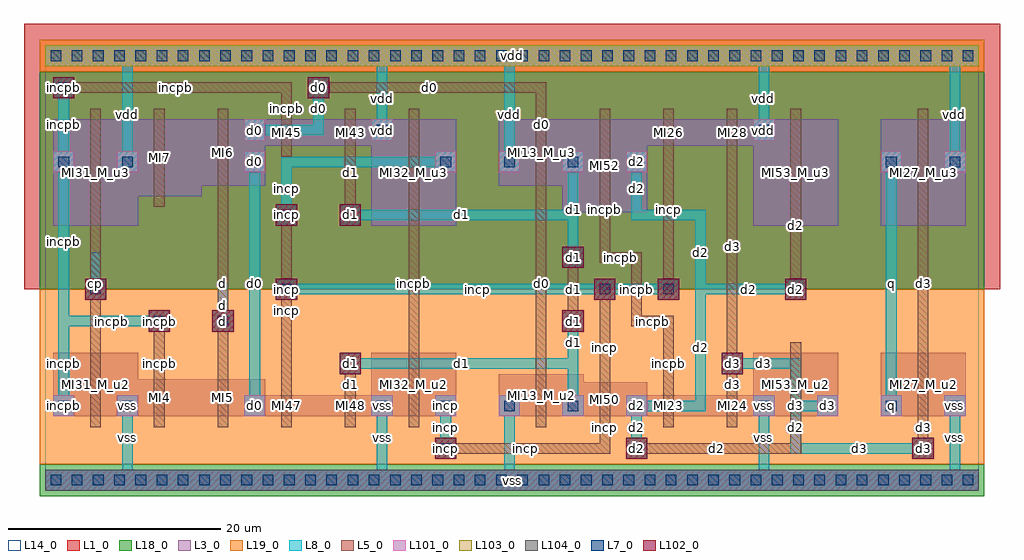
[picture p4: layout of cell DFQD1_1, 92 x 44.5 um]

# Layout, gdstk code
import gdstk
lib = gdstk.Library(unit=1e-6, precision=1e-09)
def R(c, l, rs):  # rectangles x0, y0, x1, y1
    for r in rs: c.add(gdstk.rectangle(r[:2], r[2:], *l))
def A(c, l, x, y, w, h, nx, ny, dx, dy):  # array of equal rectangles
    R(c, l, [(x+i*dx, y+j*dy, x+i*dx+w, y+j*dy+h) for i in range(nx) for j in range(ny)])
L1_0 = (1, 0)
L3_0 = (3, 0)
L5_0 = (5, 0)
L7_0 = (7, 0)
L8_0 = (8, 0)
L13_0 = (13, 0)
L14_0 = (14, 0)
L18_0 = (18, 0)
L19_0 = (19, 0)
L101_0 = (101, 0)
L102_0 = (102, 0)
L103_0 = (103, 0)
L104_0 = (104, 0)

dfqd1_1 = lib.new_cell('DFQD1_1')
R(dfqd1_1, L1_0, [(-2,18,90,43)])
A(dfqd1_1, L3_0, 6.75, 6, 2, 2, 3, 1, 12, 0)
A(dfqd1_1, L3_0, 36.75, 6, 2, 2, 4, 2, 6, 23)
A(dfqd1_1, L3_0, 66.75, 6, 2, 2, 4, 1, 6, 0)
R(dfqd1_1, L3_0, [(0,-1,88,1), (0,-1,88,1), (0.75,6,8.75,12), (0.75,6,2.75,8), (6.75,6,14.75,9.5), (12.75,6,20.75,9.5), (18.75,6,26.75,8), (24.75,6,32.75,8), (30.75,6,38.75,12), (42.75,6,50.75,10), (48.75,6,56.75,9.25), (54.75,6,62.75,8), (60.75,6,68.75,8), (66.75,6,74.75,12), (78.75,6,86.75,12), (0.75,24,8.75,34), (30.75,24,38.75,34), (66.75,24,74.75,34), (78.75,24,86.75,34), (48.75,25.25,56.75,34), (6.75,26.75,14.75,34), (12.75,27.75,20.75,34), (42.75,27.75,50.75,34), (0.75,29,2.75,31), (6.75,29,8.75,31), (18.75,29,20.75,31), (78.75,29,80.75,31), (84.75,29,86.75,31), (18.75,31.5,26.75,34), (24.75,31.5,32.75,34), (54.75,31.5,62.75,34), (60.75,31.5,68.75,34), (18.75,32,20.75,34), (30.75,32,32.75,34), (66.75,32,68.75,34), (0,39,88,41), (0,39,88,41)])
R(dfqd1_1, L5_0, [(36.75,2,38.75,4), (54.75,2,56.75,4), (81.75,2,83.75,4), (37.25,2.5,53.25,3.5), (52.25,2.5,53.25,7.5), (55.25,2.5,71.25,3.5), (70.25,2.5,71.25,7.5), (82.25,2.5,83.25,7.5), (4.25,5,5.25,13), (10.25,5,11.25,10.5), (16.25,5,17.25,10.5), (22.25,5,23.25,9), (28.25,5,29.25,9), (34.25,5,35.25,13), (46.25,5,47.25,11), (52.25,5,53.25,10.25), (58.25,5,59.25,9), (64.25,5,65.25,9), (70.25,5,71.25,13), (82.25,5,83.25,13), (4.25,6.5,5.25,30.5), (10.25,6.5,11.25,15.5), (16.25,6.5,17.25,30.5), (22.25,6.5,23.25,25.5), (28.25,6.5,29.25,11.5), (34.25,6.5,35.25,30.5), (46.25,6.5,47.25,30.5), (52.25,6.5,53.25,18.5), (58.25,6.5,59.25,15.5), (64.25,6.5,65.25,11.5), (82.25,6.5,83.25,30.5), (27.75,10,29.75,12), (63.75,10,65.75,12), (64.25,10.5,65.25,33.5), (9.75,14,11.75,16), (15.75,14,17.75,16), (48.75,14,50.75,16), (49.25,14.5,50.25,21.5), (55.25,14.5,59.25,15.5), (55.25,14.5,56.25,21.5), (3.75,17,5.75,19), (21.75,17,23.75,19), (51.75,17,53.75,19), (57.75,17,59.75,19), (69.75,17,71.75,19), (58.25,17.5,59.25,33.5), (70.25,17.5,71.25,30.5), (48.75,20,50.75,22), (52.25,20.5,56.25,21.5), (52.25,20.5,53.25,30.5), (4.25,23,5.25,35), (34.25,23,35.25,35), (70.25,23,71.25,35), (82.25,23,83.25,35), (21.75,24,23.75,26), (27.75,24,29.75,26), (52.25,24.25,53.25,35), (28.25,24.5,29.25,33.5), (10.25,25.75,11.25,35), (16.25,26.75,17.25,35), (46.25,26.75,47.25,35), (46.25,29.5,47.25,37.5), (22.25,30.5,23.25,35), (28.25,30.5,29.25,35), (58.25,30.5,59.25,35), (64.25,30.5,65.25,35), (22.25,32.5,23.25,37.5), (0.75,36,2.75,38), (24.75,36,26.75,38), (1.25,36.5,23.25,37.5), (25.25,36.5,47.25,37.5)])
A(dfqd1_1, L7_0, 0.5, -0.5, 1, 1, 44, 2, 2, 40)
A(dfqd1_1, L7_0, 7.25, 6.5, 1, 1, 3, 1, 12, 0)
A(dfqd1_1, L7_0, 37.25, 6.5, 1, 1, 4, 2, 6, 23)
A(dfqd1_1, L7_0, 67.25, 6.5, 1, 1, 4, 1, 6, 0)
R(dfqd1_1, L7_0, [(37.25,2.5,38.25,3.5), (55.25,2.5,56.25,3.5), (82.25,2.5,83.25,3.5), (1.25,6.5,2.25,7.5), (28.25,10.5,29.25,11.5), (64.25,10.5,65.25,11.5), (10.25,14.5,11.25,15.5), (16.25,14.5,17.25,15.5), (49.25,14.5,50.25,15.5), (4.25,17.5,5.25,18.5), (22.25,17.5,23.25,18.5), (52.25,17.5,53.25,18.5), (58.25,17.5,59.25,18.5), (70.25,17.5,71.25,18.5), (49.25,20.5,50.25,21.5), (22.25,24.5,23.25,25.5), (28.25,24.5,29.25,25.5), (1.25,29.5,2.25,30.5), (7.25,29.5,8.25,30.5), (19.25,29.5,20.25,30.5), (79.25,29.5,80.25,30.5), (85.25,29.5,86.25,30.5), (19.25,32.5,20.25,33.5), (31.25,32.5,32.25,33.5), (67.25,32.5,68.25,33.5), (1.25,36.5,2.25,37.5), (25.25,36.5,26.25,37.5)])
A(dfqd1_1, L8_0, 6.75, 6, 2, 2, 3, 1, 12, 0)
A(dfqd1_1, L8_0, 36.75, 6, 2, 2, 4, 2, 6, 23)
A(dfqd1_1, L8_0, 66.75, 6, 2, 2, 4, 1, 6, 0)
R(dfqd1_1, L8_0, [(0,-1,88,1), (7.25,0.5,8.25,7.5), (31.25,0.5,32.25,7.5), (43.25,0.5,44.25,7.5), (67.25,0.5,68.25,7.5), (85.25,0.5,86.25,7.5), (36.75,2,38.75,4), (54.75,2,56.75,4), (81.75,2,83.75,4), (37.25,2.5,38.25,7.5), (55.25,2.5,56.25,7.5), (70.25,2.5,71.25,11.5), (70.25,2.5,83.25,3.5), (0.75,6,2.75,8), (1.25,6.5,2.25,15.5), (19.25,6.5,20.25,30.5), (49.25,6.5,50.25,11.5), (55.25,6.5,62.25,7.5), (61.25,6.5,62.25,18.5), (70.25,6.5,74.25,7.5), (79.25,6.5,80.25,30.5), (27.75,10,29.75,12), (63.75,10,65.75,12), (28.25,10.5,50.25,11.5), (49.25,10.5,50.25,15.5), (64.25,10.5,71.25,11.5), (9.75,14,11.75,16), (15.75,14,17.75,16), (48.75,14,50.75,16), (1.25,14.5,11.25,15.5), (1.25,14.5,2.25,30.5), (16.25,14.5,17.25,18.5), (3.75,17,5.75,19), (21.75,17,23.75,19), (51.75,17,53.75,19), (57.75,17,59.75,19), (69.75,17,71.75,19), (4.25,17.5,5.25,21.5), (22.25,17.5,59.25,18.5), (61.25,17.5,71.25,18.5), (61.25,17.5,62.25,25.5), (48.75,20,50.75,22), (49.25,20.5,50.25,30.5), (21.75,24,23.75,26), (27.75,24,29.75,26), (22.25,24.5,23.25,30.5), (28.25,24.5,50.25,25.5), (55.25,24.5,62.25,25.5), (55.25,24.5,56.25,30.5), (0.75,29,2.75,31), (6.75,29,8.75,31), (18.75,29,20.75,31), (78.75,29,80.75,31), (84.75,29,86.75,31), (1.25,29.5,2.25,37.5), (7.25,29.5,8.25,39.5), (22.25,29.5,38.25,30.5), (43.25,29.5,44.25,39.5), (85.25,29.5,86.25,39.5), (18.75,32,20.75,34), (30.75,32,32.75,34), (66.75,32,68.75,34), (19.25,32.5,26.25,33.5), (25.25,32.5,26.25,37.5), (31.25,32.5,32.25,39.5), (67.25,32.5,68.25,39.5), (0.75,36,2.75,38), (24.75,36,26.75,38), (0,39,88,41)])
R(dfqd1_1, L14_0, [(0,0,88,40)])
R(dfqd1_1, L18_0, [(-0.5,-1.5,88.5,1.5), (-0.5,18,88.5,38.5)])
R(dfqd1_1, L19_0, [(-0.5,1.5,88.5,18), (-0.5,38.5,88.5,41.5)])
A(dfqd1_1, L101_0, 0, -1, 2, 2, 44, 2, 2, 40)
A(dfqd1_1, L101_0, 6.75, 6, 2, 2, 3, 1, 12, 0)
A(dfqd1_1, L101_0, 36.75, 6, 2, 2, 4, 2, 6, 23)
A(dfqd1_1, L101_0, 66.75, 6, 2, 2, 4, 1, 6, 0)
R(dfqd1_1, L101_0, [(0.75,6,2.75,8), (0.75,29,2.75,31), (6.75,29,8.75,31), (18.75,29,20.75,31), (78.75,29,80.75,31), (84.75,29,86.75,31), (18.75,32,20.75,34), (30.75,32,32.75,34), (66.75,32,68.75,34)])
R(dfqd1_1, L102_0, [(36.75,2,38.75,4), (54.75,2,56.75,4), (81.75,2,83.75,4), (27.75,10,29.75,12), (63.75,10,65.75,12), (9.75,14,11.75,16), (15.75,14,17.75,16), (48.75,14,50.75,16), (3.75,17,5.75,19), (21.75,17,23.75,19), (51.75,17,53.75,19), (57.75,17,59.75,19), (69.75,17,71.75,19), (48.75,20,50.75,22), (21.75,24,23.75,26), (27.75,24,29.75,26), (0.75,36,2.75,38), (24.75,36,26.75,38)])
R(dfqd1_1, L103_0, [(0,39,88,41)])
R(dfqd1_1, L104_0, [(0,-1,88,1)])
dfqd1_1.add(gdstk.FlexPath([(0.75,3),(86.75,3)], 0, ends="flush", simple_path=True, layer=13, datatype=0))  # L13_0
dfqd1_1.add(gdstk.FlexPath([(0.75,7),(86.75,7)], 0, ends="flush", simple_path=True, layer=13, datatype=0))  # L13_0
dfqd1_1.add(gdstk.FlexPath([(0.75,11),(86.75,11)], 0, ends="flush", simple_path=True, layer=13, datatype=0))  # L13_0
dfqd1_1.add(gdstk.FlexPath([(0.75,15),(86.75,15)], 0, ends="flush", simple_path=True, layer=13, datatype=0))  # L13_0
dfqd1_1.add(gdstk.FlexPath([(0.75,18),(86.75,18)], 0, ends="flush", simple_path=True, layer=13, datatype=0))  # L13_0
dfqd1_1.add(gdstk.FlexPath([(0.75,21),(86.75,21)], 0, ends="flush", simple_path=True, layer=13, datatype=0))  # L13_0
dfqd1_1.add(gdstk.FlexPath([(0.75,25),(86.75,25)], 0, ends="flush", simple_path=True, layer=13, datatype=0))  # L13_0
dfqd1_1.add(gdstk.FlexPath([(0.75,30),(86.75,30)], 0, ends="flush", simple_path=True, layer=13, datatype=0))  # L13_0
dfqd1_1.add(gdstk.FlexPath([(0.75,33),(86.75,33)], 0, ends="flush", simple_path=True, layer=13, datatype=0))  # L13_0
dfqd1_1.add(gdstk.FlexPath([(0.75,37),(86.75,37)], 0, ends="flush", simple_path=True, layer=13, datatype=0))  # L13_0
dfqd1_1.add(gdstk.FlexPath([(1.75,0.5),(1.75,39.5)], 0, ends="flush", simple_path=True, layer=13, datatype=0))  # L13_0
dfqd1_1.add(gdstk.FlexPath([(4.75,0.5),(4.75,39.5)], 0, ends="flush", simple_path=True, layer=13, datatype=0))  # L13_0
dfqd1_1.add(gdstk.FlexPath([(7.75,0.5),(7.75,39.5)], 0, ends="flush", simple_path=True, layer=13, datatype=0))  # L13_0
dfqd1_1.add(gdstk.FlexPath([(10.75,0.5),(10.75,39.5)], 0, ends="flush", simple_path=True, layer=13, datatype=0))  # L13_0
dfqd1_1.add(gdstk.FlexPath([(13.75,0.5),(13.75,39.5)], 0, ends="flush", simple_path=True, layer=13, datatype=0))  # L13_0
dfqd1_1.add(gdstk.FlexPath([(16.75,0.5),(16.75,39.5)], 0, ends="flush", simple_path=True, layer=13, datatype=0))  # L13_0
dfqd1_1.add(gdstk.FlexPath([(19.75,0.5),(19.75,39.5)], 0, ends="flush", simple_path=True, layer=13, datatype=0))  # L13_0
dfqd1_1.add(gdstk.FlexPath([(22.75,0.5),(22.75,39.5)], 0, ends="flush", simple_path=True, layer=13, datatype=0))  # L13_0
dfqd1_1.add(gdstk.FlexPath([(25.75,0.5),(25.75,39.5)], 0, ends="flush", simple_path=True, layer=13, datatype=0))  # L13_0
dfqd1_1.add(gdstk.FlexPath([(28.75,0.5),(28.75,39.5)], 0, ends="flush", simple_path=True, layer=13, datatype=0))  # L13_0
dfqd1_1.add(gdstk.FlexPath([(31.75,0.5),(31.75,39.5)], 0, ends="flush", simple_path=True, layer=13, datatype=0))  # L13_0
dfqd1_1.add(gdstk.FlexPath([(34.75,0.5),(34.75,39.5)], 0, ends="flush", simple_path=True, layer=13, datatype=0))  # L13_0
dfqd1_1.add(gdstk.FlexPath([(37.75,0.5),(37.75,39.5)], 0, ends="flush", simple_path=True, layer=13, datatype=0))  # L13_0
dfqd1_1.add(gdstk.FlexPath([(40.75,0.5),(40.75,39.5)], 0, ends="flush", simple_path=True, layer=13, datatype=0))  # L13_0
dfqd1_1.add(gdstk.FlexPath([(43.75,0.5),(43.75,39.5)], 0, ends="flush", simple_path=True, layer=13, datatype=0))  # L13_0
dfqd1_1.add(gdstk.FlexPath([(46.75,0.5),(46.75,39.5)], 0, ends="flush", simple_path=True, layer=13, datatype=0))  # L13_0
dfqd1_1.add(gdstk.FlexPath([(49.75,0.5),(49.75,39.5)], 0, ends="flush", simple_path=True, layer=13, datatype=0))  # L13_0
dfqd1_1.add(gdstk.FlexPath([(52.75,0.5),(52.75,39.5)], 0, ends="flush", simple_path=True, layer=13, datatype=0))  # L13_0
dfqd1_1.add(gdstk.FlexPath([(55.75,0.5),(55.75,39.5)], 0, ends="flush", simple_path=True, layer=13, datatype=0))  # L13_0
dfqd1_1.add(gdstk.FlexPath([(58.75,0.5),(58.75,39.5)], 0, ends="flush", simple_path=True, layer=13, datatype=0))  # L13_0
dfqd1_1.add(gdstk.FlexPath([(61.75,0.5),(61.75,39.5)], 0, ends="flush", simple_path=True, layer=13, datatype=0))  # L13_0
dfqd1_1.add(gdstk.FlexPath([(64.75,0.5),(64.75,39.5)], 0, ends="flush", simple_path=True, layer=13, datatype=0))  # L13_0
dfqd1_1.add(gdstk.FlexPath([(67.75,0.5),(67.75,39.5)], 0, ends="flush", simple_path=True, layer=13, datatype=0))  # L13_0
dfqd1_1.add(gdstk.FlexPath([(70.75,0.5),(70.75,39.5)], 0, ends="flush", simple_path=True, layer=13, datatype=0))  # L13_0
dfqd1_1.add(gdstk.FlexPath([(73.75,0.5),(73.75,39.5)], 0, ends="flush", simple_path=True, layer=13, datatype=0))  # L13_0
dfqd1_1.add(gdstk.FlexPath([(76.75,0.5),(76.75,39.5)], 0, ends="flush", simple_path=True, layer=13, datatype=0))  # L13_0
dfqd1_1.add(gdstk.FlexPath([(79.75,0.5),(79.75,39.5)], 0, ends="flush", simple_path=True, layer=13, datatype=0))  # L13_0
dfqd1_1.add(gdstk.FlexPath([(82.75,0.5),(82.75,39.5)], 0, ends="flush", simple_path=True, layer=13, datatype=0))  # L13_0
dfqd1_1.add(gdstk.FlexPath([(85.75,0.5),(85.75,39.5)], 0, ends="flush", simple_path=True, layer=13, datatype=0))  # L13_0
dfqd1_1.add(gdstk.Label('MI4', (10.75,7.75), layer=3, texttype=0))
dfqd1_1.add(gdstk.Label('MI23', (58.75,7), layer=3, texttype=0))
dfqd1_1.add(gdstk.Label('MI5', (16.75,7.75), layer=3, texttype=0))
dfqd1_1.add(gdstk.Label('MI47', (22.75,7), layer=3, texttype=0))
dfqd1_1.add(gdstk.Label('MI48', (28.75,7), layer=3, texttype=0))
dfqd1_1.add(gdstk.Label('MI24', (64.75,7), layer=3, texttype=0))
dfqd1_1.add(gdstk.Label('MI50', (52.75,7.625), layer=3, texttype=0))
dfqd1_1.add(gdstk.Label('MI32_M_u2', (34.75,9), layer=3, texttype=0))
dfqd1_1.add(gdstk.Label('MI31_M_u2', (4.75,9), layer=3, texttype=0))
dfqd1_1.add(gdstk.Label('MI27_M_u2', (82.75,9), layer=3, texttype=0))
dfqd1_1.add(gdstk.Label('MI53_M_u2', (70.75,9), layer=3, texttype=0))
dfqd1_1.add(gdstk.Label('MI13_M_u2', (46.75,8), layer=3, texttype=0))
dfqd1_1.add(gdstk.Label('MI6', (16.75,30.875), layer=3, texttype=0))
dfqd1_1.add(gdstk.Label('MI32_M_u3', (34.75,29), layer=3, texttype=0))
dfqd1_1.add(gdstk.Label('MI31_M_u3', (4.75,29), layer=3, texttype=0))
dfqd1_1.add(gdstk.Label('MI27_M_u3', (82.75,29), layer=3, texttype=0))
dfqd1_1.add(gdstk.Label('MI53_M_u3', (70.75,29), layer=3, texttype=0))
dfqd1_1.add(gdstk.Label('MI13_M_u3', (46.75,30.875), layer=3, texttype=0))
dfqd1_1.add(gdstk.Label('MI7', (10.75,30.375), layer=3, texttype=0))
dfqd1_1.add(gdstk.Label('MI52', (52.75,29.625), layer=3, texttype=0))
dfqd1_1.add(gdstk.Label('MI28', (64.75,32.75), layer=3, texttype=0))
dfqd1_1.add(gdstk.Label('MI26', (58.75,32.75), layer=3, texttype=0))
dfqd1_1.add(gdstk.Label('MI45', (22.75,32.75), layer=3, texttype=0))
dfqd1_1.add(gdstk.Label('MI43', (28.75,32.75), layer=3, texttype=0))
dfqd1_1.add(gdstk.Label('incpb', (1.75,7), layer=3, texttype=0))
dfqd1_1.add(gdstk.Label('incpb', (1.75,30), layer=3, texttype=0))
dfqd1_1.add(gdstk.Label('d2', (55.75,7), layer=3, texttype=0))
dfqd1_1.add(gdstk.Label('d2', (55.75,30), layer=3, texttype=0))
dfqd1_1.add(gdstk.Label('d0', (19.75,7), layer=3, texttype=0))
dfqd1_1.add(gdstk.Label('d0', (19.75,30), layer=3, texttype=0))
dfqd1_1.add(gdstk.Label('d0', (19.75,33), layer=3, texttype=0))
dfqd1_1.add(gdstk.Label('incp', (37.75,7), layer=3, texttype=0))
dfqd1_1.add(gdstk.Label('incp', (37.75,30), layer=3, texttype=0))
dfqd1_1.add(gdstk.Label('d1', (49.75,7), layer=3, texttype=0))
dfqd1_1.add(gdstk.Label('d1', (49.75,30), layer=3, texttype=0))
dfqd1_1.add(gdstk.Label('d3', (73.75,7), layer=3, texttype=0))
dfqd1_1.add(gdstk.Label('q', (79.75,7), layer=3, texttype=0))
dfqd1_1.add(gdstk.Label('q', (79.75,30), layer=3, texttype=0))
dfqd1_1.add(gdstk.Label('vss', (7.75,7), layer=3, texttype=0))
dfqd1_1.add(gdstk.Label('vss', (31.75,7), layer=3, texttype=0))
dfqd1_1.add(gdstk.Label('vss', (67.75,7), layer=3, texttype=0))
dfqd1_1.add(gdstk.Label('vss', (85.75,7), layer=3, texttype=0))
dfqd1_1.add(gdstk.Label('vss', (43.75,7), layer=3, texttype=0))
dfqd1_1.add(gdstk.Label('vdd', (31.75,33), layer=3, texttype=0))
dfqd1_1.add(gdstk.Label('vdd', (7.75,30), layer=3, texttype=0))
dfqd1_1.add(gdstk.Label('vdd', (85.75,30), layer=3, texttype=0))
dfqd1_1.add(gdstk.Label('vdd', (67.75,33), layer=3, texttype=0))
dfqd1_1.add(gdstk.Label('vdd', (43.75,30), layer=3, texttype=0))
dfqd1_1.add(gdstk.Label('incpb', (10.75,11), layer=5, texttype=0))
dfqd1_1.add(gdstk.Label('incpb', (10.75,15), layer=5, texttype=0))
dfqd1_1.add(gdstk.Label('incpb', (1.75,37), layer=5, texttype=0))
dfqd1_1.add(gdstk.Label('incpb', (12.25,37), layer=5, texttype=0))
dfqd1_1.add(gdstk.Label('incpb', (22.75,35), layer=5, texttype=0))
dfqd1_1.add(gdstk.Label('incpb', (58.75,11), layer=5, texttype=0))
dfqd1_1.add(gdstk.Label('incpb', (57.25,15), layer=5, texttype=0))
dfqd1_1.add(gdstk.Label('incpb', (55.75,18), layer=5, texttype=0))
dfqd1_1.add(gdstk.Label('incpb', (54.25,21), layer=5, texttype=0))
dfqd1_1.add(gdstk.Label('incpb', (52.75,25.5), layer=5, texttype=0))
dfqd1_1.add(gdstk.Label('incpb', (34.75,18.5), layer=5, texttype=0))
dfqd1_1.add(gdstk.Label('d2', (55.75,3), layer=5, texttype=0))
dfqd1_1.add(gdstk.Label('d2', (63.25,3), layer=5, texttype=0))
dfqd1_1.add(gdstk.Label('d2', (70.75,5), layer=5, texttype=0))
dfqd1_1.add(gdstk.Label('d2', (70.75,18), layer=5, texttype=0))
dfqd1_1.add(gdstk.Label('d2', (70.75,24), layer=5, texttype=0))
dfqd1_1.add(gdstk.Label('d0', (46.75,18.5), layer=5, texttype=0))
dfqd1_1.add(gdstk.Label('d0', (25.75,37), layer=5, texttype=0))
dfqd1_1.add(gdstk.Label('d0', (36.25,37), layer=5, texttype=0))
dfqd1_1.add(gdstk.Label('d0', (46.75,33.5), layer=5, texttype=0))
dfqd1_1.add(gdstk.Label('d', (16.75,18.5), layer=5, texttype=0))
dfqd1_1.add(gdstk.Label('d', (16.75,15), layer=5, texttype=0))
dfqd1_1.add(gdstk.Label('incp', (22.75,16), layer=5, texttype=0))
dfqd1_1.add(gdstk.Label('incp', (22.75,25), layer=5, texttype=0))
dfqd1_1.add(gdstk.Label('incp', (22.75,18), layer=5, texttype=0))
dfqd1_1.add(gdstk.Label('incp', (58.75,18), layer=5, texttype=0))
dfqd1_1.add(gdstk.Label('incp', (58.75,25.5), layer=5, texttype=0))
dfqd1_1.add(gdstk.Label('incp', (52.75,5), layer=5, texttype=0))
dfqd1_1.add(gdstk.Label('incp', (45.25,3), layer=5, texttype=0))
dfqd1_1.add(gdstk.Label('incp', (37.75,3), layer=5, texttype=0))
dfqd1_1.add(gdstk.Label('incp', (52.75,12.5), layer=5, texttype=0))
dfqd1_1.add(gdstk.Label('incp', (52.75,18), layer=5, texttype=0))
dfqd1_1.add(gdstk.Label('d1', (28.75,9), layer=5, texttype=0))
dfqd1_1.add(gdstk.Label('d1', (28.75,11), layer=5, texttype=0))
dfqd1_1.add(gdstk.Label('d1', (49.75,15), layer=5, texttype=0))
dfqd1_1.add(gdstk.Label('d1', (49.75,18), layer=5, texttype=0))
dfqd1_1.add(gdstk.Label('d1', (49.75,21), layer=5, texttype=0))
dfqd1_1.add(gdstk.Label('d1', (28.75,25), layer=5, texttype=0))
dfqd1_1.add(gdstk.Label('d1', (28.75,29), layer=5, texttype=0))
dfqd1_1.add(gdstk.Label('d3', (64.75,9), layer=5, texttype=0))
dfqd1_1.add(gdstk.Label('d3', (64.75,11), layer=5, texttype=0))
dfqd1_1.add(gdstk.Label('d3', (82.75,3), layer=5, texttype=0))
dfqd1_1.add(gdstk.Label('d3', (82.75,5), layer=5, texttype=0))
dfqd1_1.add(gdstk.Label('d3', (82.75,18.5), layer=5, texttype=0))
dfqd1_1.add(gdstk.Label('d3', (64.75,22), layer=5, texttype=0))
dfqd1_1.add(gdstk.Label('cp', (4.75,18.5), layer=5, texttype=0))
dfqd1_1.add(gdstk.Label('cp', (4.75,18), layer=5, texttype=0))
dfqd1_1.add(gdstk.Label('incpb', (1.75,7), layer=101, texttype=0))
dfqd1_1.add(gdstk.Label('incpb', (1.75,30), layer=101, texttype=0))
dfqd1_1.add(gdstk.Label('d2', (55.75,7), layer=101, texttype=0))
dfqd1_1.add(gdstk.Label('d2', (55.75,30), layer=101, texttype=0))
dfqd1_1.add(gdstk.Label('d0', (19.75,7), layer=101, texttype=0))
dfqd1_1.add(gdstk.Label('d0', (19.75,30), layer=101, texttype=0))
dfqd1_1.add(gdstk.Label('d0', (19.75,33), layer=101, texttype=0))
dfqd1_1.add(gdstk.Label('incp', (37.75,7), layer=101, texttype=0))
dfqd1_1.add(gdstk.Label('incp', (37.75,30), layer=101, texttype=0))
dfqd1_1.add(gdstk.Label('d1', (49.75,7), layer=101, texttype=0))
dfqd1_1.add(gdstk.Label('d1', (49.75,30), layer=101, texttype=0))
dfqd1_1.add(gdstk.Label('d3', (73.75,7), layer=101, texttype=0))
dfqd1_1.add(gdstk.Label('q', (79.75,7), layer=101, texttype=0))
dfqd1_1.add(gdstk.Label('q', (79.75,30), layer=101, texttype=0))
dfqd1_1.add(gdstk.Label('vss', (7.75,7), layer=101, texttype=0))
dfqd1_1.add(gdstk.Label('vss', (31.75,7), layer=101, texttype=0))
dfqd1_1.add(gdstk.Label('vss', (67.75,7), layer=101, texttype=0))
dfqd1_1.add(gdstk.Label('vss', (85.75,7), layer=101, texttype=0))
dfqd1_1.add(gdstk.Label('vss', (43.75,7), layer=101, texttype=0))
dfqd1_1.add(gdstk.Label('vdd', (31.75,33), layer=101, texttype=0))
dfqd1_1.add(gdstk.Label('vdd', (7.75,30), layer=101, texttype=0))
dfqd1_1.add(gdstk.Label('vdd', (85.75,30), layer=101, texttype=0))
dfqd1_1.add(gdstk.Label('vdd', (67.75,33), layer=101, texttype=0))
dfqd1_1.add(gdstk.Label('vdd', (43.75,30), layer=101, texttype=0))
dfqd1_1.add(gdstk.Label('incpb', (10.75,15), layer=102, texttype=0))
dfqd1_1.add(gdstk.Label('incpb', (1.75,37), layer=102, texttype=0))
dfqd1_1.add(gdstk.Label('d2', (55.75,3), layer=102, texttype=0))
dfqd1_1.add(gdstk.Label('d2', (70.75,18), layer=102, texttype=0))
dfqd1_1.add(gdstk.Label('d0', (25.75,37), layer=102, texttype=0))
dfqd1_1.add(gdstk.Label('d', (16.75,15), layer=102, texttype=0))
dfqd1_1.add(gdstk.Label('incp', (22.75,25), layer=102, texttype=0))
dfqd1_1.add(gdstk.Label('incp', (22.75,18), layer=102, texttype=0))
dfqd1_1.add(gdstk.Label('incp', (58.75,18), layer=102, texttype=0))
dfqd1_1.add(gdstk.Label('incp', (37.75,3), layer=102, texttype=0))
dfqd1_1.add(gdstk.Label('incp', (52.75,18), layer=102, texttype=0))
dfqd1_1.add(gdstk.Label('d1', (28.75,11), layer=102, texttype=0))
dfqd1_1.add(gdstk.Label('d1', (49.75,15), layer=102, texttype=0))
dfqd1_1.add(gdstk.Label('d1', (49.75,21), layer=102, texttype=0))
dfqd1_1.add(gdstk.Label('d1', (28.75,25), layer=102, texttype=0))
dfqd1_1.add(gdstk.Label('d3', (64.75,11), layer=102, texttype=0))
dfqd1_1.add(gdstk.Label('d3', (82.75,3), layer=102, texttype=0))
dfqd1_1.add(gdstk.Label('cp', (4.75,18), layer=102, texttype=0))
dfqd1_1.add(gdstk.Label('incpb', (1.75,7), layer=8, texttype=0))
dfqd1_1.add(gdstk.Label('incpb', (1.75,30), layer=8, texttype=0))
dfqd1_1.add(gdstk.Label('incpb', (10.75,15), layer=8, texttype=0))
dfqd1_1.add(gdstk.Label('incpb', (6.25,15), layer=8, texttype=0))
dfqd1_1.add(gdstk.Label('incpb', (1.75,22.5), layer=8, texttype=0))
dfqd1_1.add(gdstk.Label('incpb', (1.75,33.5), layer=8, texttype=0))
dfqd1_1.add(gdstk.Label('incpb', (1.75,37), layer=8, texttype=0))
dfqd1_1.add(gdstk.Label('incpb', (1.75,11), layer=8, texttype=0))
dfqd1_1.add(gdstk.Label('d2', (55.75,7), layer=8, texttype=0))
dfqd1_1.add(gdstk.Label('d2', (55.75,30), layer=8, texttype=0))
dfqd1_1.add(gdstk.Label('d2', (55.75,5), layer=8, texttype=0))
dfqd1_1.add(gdstk.Label('d2', (55.75,3), layer=8, texttype=0))
dfqd1_1.add(gdstk.Label('d2', (58.75,7), layer=8, texttype=0))
dfqd1_1.add(gdstk.Label('d2', (61.75,12.5), layer=8, texttype=0))
dfqd1_1.add(gdstk.Label('d2', (66.25,18), layer=8, texttype=0))
dfqd1_1.add(gdstk.Label('d2', (70.75,18), layer=8, texttype=0))
dfqd1_1.add(gdstk.Label('d2', (61.75,21.5), layer=8, texttype=0))
dfqd1_1.add(gdstk.Label('d2', (58.75,25), layer=8, texttype=0))
dfqd1_1.add(gdstk.Label('d2', (55.75,27.5), layer=8, texttype=0))
dfqd1_1.add(gdstk.Label('d0', (19.75,7), layer=8, texttype=0))
dfqd1_1.add(gdstk.Label('d0', (19.75,30), layer=8, texttype=0))
dfqd1_1.add(gdstk.Label('d0', (19.75,33), layer=8, texttype=0))
dfqd1_1.add(gdstk.Label('d0', (19.75,18.5), layer=8, texttype=0))
dfqd1_1.add(gdstk.Label('d0', (22.75,33), layer=8, texttype=0))
dfqd1_1.add(gdstk.Label('d0', (25.75,35), layer=8, texttype=0))
dfqd1_1.add(gdstk.Label('d0', (25.75,37), layer=8, texttype=0))
dfqd1_1.add(gdstk.Label('d', (16.75,15), layer=8, texttype=0))
dfqd1_1.add(gdstk.Label('d', (16.75,16.5), layer=8, texttype=0))
dfqd1_1.add(gdstk.Label('incp', (37.75,7), layer=8, texttype=0))
dfqd1_1.add(gdstk.Label('incp', (37.75,30), layer=8, texttype=0))
dfqd1_1.add(gdstk.Label('incp', (22.75,25), layer=8, texttype=0))
dfqd1_1.add(gdstk.Label('incp', (22.75,27.5), layer=8, texttype=0))
dfqd1_1.add(gdstk.Label('incp', (30.25,30), layer=8, texttype=0))
dfqd1_1.add(gdstk.Label('incp', (22.75,18), layer=8, texttype=0))
dfqd1_1.add(gdstk.Label('incp', (40.75,18), layer=8, texttype=0))
dfqd1_1.add(gdstk.Label('incp', (58.75,18), layer=8, texttype=0))
dfqd1_1.add(gdstk.Label('incp', (37.75,3), layer=8, texttype=0))
dfqd1_1.add(gdstk.Label('incp', (37.75,5), layer=8, texttype=0))
dfqd1_1.add(gdstk.Label('incp', (52.75,18), layer=8, texttype=0))
dfqd1_1.add(gdstk.Label('d1', (49.75,7), layer=8, texttype=0))
dfqd1_1.add(gdstk.Label('d1', (49.75,30), layer=8, texttype=0))
dfqd1_1.add(gdstk.Label('d1', (28.75,11), layer=8, texttype=0))
dfqd1_1.add(gdstk.Label('d1', (39.25,11), layer=8, texttype=0))
dfqd1_1.add(gdstk.Label('d1', (49.75,9), layer=8, texttype=0))
dfqd1_1.add(gdstk.Label('d1', (49.75,13), layer=8, texttype=0))
dfqd1_1.add(gdstk.Label('d1', (49.75,15), layer=8, texttype=0))
dfqd1_1.add(gdstk.Label('d1', (49.75,21), layer=8, texttype=0))
dfqd1_1.add(gdstk.Label('d1', (49.75,25.5), layer=8, texttype=0))
dfqd1_1.add(gdstk.Label('d1', (39.25,25), layer=8, texttype=0))
dfqd1_1.add(gdstk.Label('d1', (28.75,25), layer=8, texttype=0))
dfqd1_1.add(gdstk.Label('d3', (73.75,7), layer=8, texttype=0))
dfqd1_1.add(gdstk.Label('d3', (64.75,11), layer=8, texttype=0))
dfqd1_1.add(gdstk.Label('d3', (67.75,11), layer=8, texttype=0))
dfqd1_1.add(gdstk.Label('d3', (70.75,7), layer=8, texttype=0))
dfqd1_1.add(gdstk.Label('d3', (76.75,3), layer=8, texttype=0))
dfqd1_1.add(gdstk.Label('d3', (82.75,3), layer=8, texttype=0))
dfqd1_1.add(gdstk.Label('d3', (72.25,7), layer=8, texttype=0))
dfqd1_1.add(gdstk.Label('cp', (4.75,18), layer=8, texttype=0))
dfqd1_1.add(gdstk.Label('cp', (4.75,19.5), layer=8, texttype=0))
dfqd1_1.add(gdstk.Label('q', (79.75,7), layer=8, texttype=0))
dfqd1_1.add(gdstk.Label('q', (79.75,30), layer=8, texttype=0))
dfqd1_1.add(gdstk.Label('q', (79.75,18.5), layer=8, texttype=0))
dfqd1_1.add(gdstk.Label('vss', (7.75,7), layer=8, texttype=0))
dfqd1_1.add(gdstk.Label('vss', (7.75,4), layer=8, texttype=0))
dfqd1_1.add(gdstk.Label('vss', (31.75,7), layer=8, texttype=0))
dfqd1_1.add(gdstk.Label('vss', (31.75,4), layer=8, texttype=0))
dfqd1_1.add(gdstk.Label('vss', (67.75,7), layer=8, texttype=0))
dfqd1_1.add(gdstk.Label('vss', (67.75,4), layer=8, texttype=0))
dfqd1_1.add(gdstk.Label('vss', (85.75,7), layer=8, texttype=0))
dfqd1_1.add(gdstk.Label('vss', (85.75,4), layer=8, texttype=0))
dfqd1_1.add(gdstk.Label('vss', (43.75,7), layer=8, texttype=0))
dfqd1_1.add(gdstk.Label('vss', (43.75,4), layer=8, texttype=0))
dfqd1_1.add(gdstk.Label('vdd', (31.75,33), layer=8, texttype=0))
dfqd1_1.add(gdstk.Label('vdd', (31.75,36), layer=8, texttype=0))
dfqd1_1.add(gdstk.Label('vdd', (7.75,30), layer=8, texttype=0))
dfqd1_1.add(gdstk.Label('vdd', (7.75,34.5), layer=8, texttype=0))
dfqd1_1.add(gdstk.Label('vdd', (85.75,30), layer=8, texttype=0))
dfqd1_1.add(gdstk.Label('vdd', (85.75,34.5), layer=8, texttype=0))
dfqd1_1.add(gdstk.Label('vdd', (67.75,33), layer=8, texttype=0))
dfqd1_1.add(gdstk.Label('vdd', (67.75,36), layer=8, texttype=0))
dfqd1_1.add(gdstk.Label('vdd', (43.75,30), layer=8, texttype=0))
dfqd1_1.add(gdstk.Label('vdd', (43.75,34.5), layer=8, texttype=0))
dfqd1_1.add(gdstk.Label('vss', (44,0), layer=8, texttype=0))
dfqd1_1.add(gdstk.Label('vdd', (44,40), layer=8, texttype=0))

lib.write_gds('DFQD1_1.gds')
